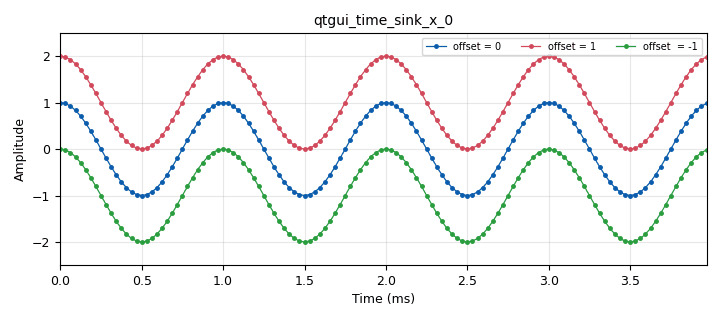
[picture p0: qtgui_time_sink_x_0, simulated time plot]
options:
  parameters:
    author: Dhrubjun
    generate_options: qt_gui
    id: chapter02
    output_language: python
    title: Offset Comparison
  states: {}

blocks:
- name: samp_rate
  id: variable
  parameters:
    value: '32000'
  states: {}
- name: analog_sig_source_x_0
  id: analog_sig_source_x
  parameters:
    amp: '1'
    freq: '1000'
    offset: '0'
    phase: '0'
    samp_rate: samp_rate
    type: float
    waveform: analog.GR_COS_WAVE
  states: {}
- name: analog_sig_source_x_0_0
  id: analog_sig_source_x
  parameters:
    amp: '1'
    freq: '1000'
    offset: '1'
    phase: '0'
    samp_rate: samp_rate
    type: float
    waveform: analog.GR_COS_WAVE
  states: {}
- name: analog_sig_source_x_0_1
  id: analog_sig_source_x
  parameters:
    amp: '1'
    freq: '1000'
    offset: '-1'
    phase: '0'
    samp_rate: samp_rate
    type: float
    waveform: analog.GR_COS_WAVE
  states: {}
- name: blocks_throttle2_0
  id: blocks_throttle2
  parameters:
    samples_per_second: samp_rate
    type: float
  states: {}
- name: blocks_throttle2_0_0
  id: blocks_throttle2
  parameters:
    samples_per_second: samp_rate
    type: float
  states: {}
- name: blocks_throttle2_0_1
  id: blocks_throttle2
  parameters:
    samples_per_second: samp_rate
    type: float
  states: {}
- name: qtgui_time_sink_x_0
  id: qtgui_time_sink_x
  parameters:
    color2: dark red
    grid: 'True'
    label1: offset = 0
    label2: offset = 1
    label3: offset  = -1
    marker1: '0'
    marker2: '3'
    marker3: '8'
    nconnections: '3'
    size: '128'
    srate: samp_rate
    style2: '2'
    type: float
    ymax: '2.5'
    ymin: '-2.5'
  states: {}

connections:
- [analog_sig_source_x_0, '0', blocks_throttle2_0_1, '0']
- [analog_sig_source_x_0_0, '0', blocks_throttle2_0, '0']
- [analog_sig_source_x_0_1, '0', blocks_throttle2_0_0, '0']
- [blocks_throttle2_0, '0', qtgui_time_sink_x_0, '1']
- [blocks_throttle2_0_0, '0', qtgui_time_sink_x_0, '2']
- [blocks_throttle2_0_1, '0', qtgui_time_sink_x_0, '0']

metadata:
  file_format: 1
  grc_version: 3.10.12.0
